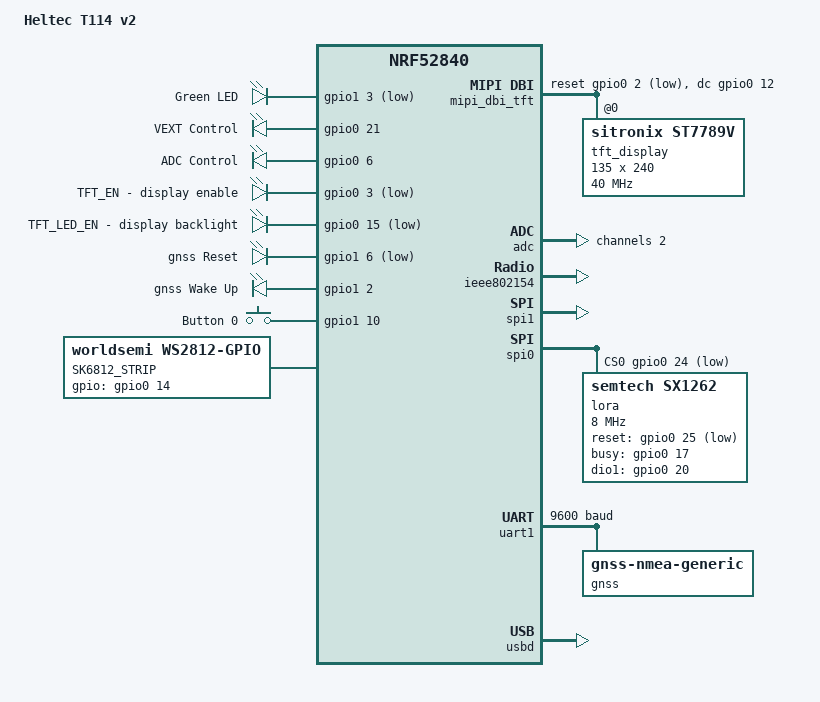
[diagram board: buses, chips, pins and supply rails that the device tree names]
/*
 * Copyright (c) 2024 MASSDRIVER EI (massdriver.space)
 * Copyright (c) 2018-2023 Nordic Semiconductor ASA
 * Copyright (c) 2017 Linaro Limited
 *
 * SPDX-License-Identifier: Apache-2.0
 */

/dts-v1/;
#include <nordic/nrf52840_qiaa.dtsi>
#include "heltec_t114_v2-pinctrl.dtsi"
#include <zephyr/dt-bindings/input/input-event-codes.h>
#include <zephyr/dt-bindings/led/led.h>
#include <zephyr/dt-bindings/mipi_dbi/mipi_dbi.h>
#include <dt-bindings/lora/sx126x.h>

/ {
	model = "Heltec T114 v2";
	compatible = "others,heltec-t114-v2";

	chosen {
		zephyr,sram = &sram0;
		zephyr,flash = &flash0;
		zephyr,ieee802154 = &ieee802154;
		zephyr,display = &tft_display;  /* ← Add this line */
	};

	digital_outputs {
		compatible = "gpio-leds";

		led4: led_4 {
			gpios = <&gpio1 3 GPIO_ACTIVE_LOW>;
			label = "Green LED";
		};

		vext_control:vext_control {
			gpios = <&gpio0 21 GPIO_ACTIVE_HIGH>;
			label = "VEXT Control";
		};

		adc_control:adc_control {
			gpios = <&gpio0 6 GPIO_ACTIVE_HIGH>;
			label = "ADC Control";
		};

		tft_en:tft_en {
			gpios = <&gpio0 3 GPIO_ACTIVE_LOW>;
			label = "TFT_EN - display enable";
		};

		tft_led_en:tft_led_en {
			gpios = <&gpio0 15 GPIO_ACTIVE_LOW>;
			label = "TFT_LED_EN - display backlight";
		};

		gnss_rst: gnss_rst {
			gpios = <&gpio1 6 GPIO_ACTIVE_LOW>;
			label = "gnss Reset";
		};

		gnss_wakeup: gnss_wakeup {
			gpios = <&gpio1 2 GPIO_ACTIVE_HIGH>;
			label = "gnss Wake Up";
		};
	};

	buttons {
		compatible = "gpio-keys";

		button0: button_0 {
			gpios = <&gpio1 10 GPIO_ACTIVE_HIGH>;
			label = "Button 0";
			zephyr,code = <INPUT_KEY_0>;
		};
	};

	gnss_pps {
		gnss_pps_pin: gnss_pps {
			gpios = <&gpio1 4 GPIO_ACTIVE_HIGH>;  /* P1.04 */
			label = "gnss PPS";
		};
	};

	led_strip:led_strip {
		compatible = "worldsemi,ws2812-gpio";
		label = "SK6812_STRIP";
		gpios = <&gpio0 14 GPIO_ACTIVE_HIGH>;
		chain-length = <2>;
		color-mapping = <LED_COLOR_ID_GREEN
						LED_COLOR_ID_RED
						LED_COLOR_ID_BLUE>;
		status = "okay";
	};

	mipi_dbi_tft {
		compatible = "zephyr,mipi-dbi-spi";
		spi-dev = <&spi1>;
		write-only;
		dc-gpios = <&gpio0 12 GPIO_ACTIVE_HIGH>;  // PIN_TFT_DC = P0.12
		reset-gpios = <&gpio0 2 GPIO_ACTIVE_LOW>; // PIN_TFT_RST = P0.02
		#address-cells = <1>;
		#size-cells = <0>;

		tft_display: st7789v@0 {
			compatible = "sitronix,st7789v";
			mipi-max-frequency = <40000000>;
			reg = <0>;
			width = <135>;
			height = <240>;
			x-offset = <52>;
			y-offset = <40>;
			vcom = <0x19>;
			gctrl = <0x35>;
			vrhs = <0x12>;
			vdvs = <0x20>;
			mdac = <0x00>;
			gamma = <0x01>;
			colmod = <0x55>;
			lcm = <0x2c>;
			porch-param = [0c 0c 00 33 33];
			cmd2en-param = [5a 69 02 01];
			pwctrl1-param = [a4 a1];
			pvgam-param = [D0 04 0D 11 13 2B 3F 54 4C 18 0D 0B 1F 23];
			nvgam-param = [D0 04 0C 11 13 2C 3F 44 51 2F 1F 1F 20 23];
			ram-param = [00 F0];
			rgb-param = [CD 08 14];
			mipi-mode = "MIPI_DBI_MODE_SPI_4WIRE";
			status = "okay";
		};
	};

	aliases {
		led4 = &led4;
		led0 = &led4;
		led-strip = &led_strip;
		button0 = &button0;
		sw0 = &button0;
		mcuboot-led4 = &led4;
		watchdog0 = &wdt0;
		vext-control = &vext_control;
		adc-control = &adc_control;
		tft-en = &tft_en;
		tft-led-en = &tft_led_en;
		gnss-rst = &gnss_rst;
		gnss-wakeup = &gnss_wakeup;
	};
};

&adc {
	status = "okay";
	#address-cells = <1>;
	#size-cells = <0>;
	io-channels = <&adc 2>;

	channel@2 {
		reg = <2>;                  /* AIN2 */
		zephyr,gain = "ADC_GAIN_1_6";
		zephyr,reference = "ADC_REF_INTERNAL";
		zephyr,acquisition-time = <ADC_ACQ_TIME_DEFAULT>;
		zephyr,input-positive = <NRF_SAADC_AIN2>;
		zephyr,resolution = <12>;
	};
};

&gpiote {
	status = "okay";
};

&uicr {
	nfct-pins-as-gpios;
	gpio-as-nreset;
};

&gpio0 {
	status = "okay";
};

&gpio1 {
	status = "okay";
};

&led_strip {
	status = "okay";
};

&ieee802154 {
	status = "okay";
};

&spi1 {
	status = "okay";
	pinctrl-0 = <&tft_spi_pins>;
	pinctrl-names = "default";
	cs-gpios = <&gpio0 11 GPIO_ACTIVE_LOW>; /* PIN_TFT_CS = P0.11 */
};

&spi0 {
	status = "okay";
	pinctrl-0 = <&lora_spi_pins>;
	pinctrl-names = "default";
	cs-gpios = <&gpio0 24 GPIO_ACTIVE_LOW>;

	lora: sx1262@0 {
		compatible = "semtech,sx1262";
		reg = <0>;
		spi-max-frequency = <8000000>;
		reset-gpios = <&gpio0 25 GPIO_ACTIVE_LOW>;
		busy-gpios = <&gpio0 17 GPIO_ACTIVE_HIGH>;
		dio1-gpios = <&gpio0 20 GPIO_ACTIVE_HIGH>;
		dio2-tx-enable;
		dio3-tcxo-voltage = <SX126X_DIO3_TCXO_1V8>;
		tcxo-power-startup-delay-ms = <5>;
		status = "okay";
	};
};

&uart1 {
	compatible = "nordic,nrf-uarte";
	status = "okay";
	current-speed = <9600>;
	pinctrl-0 = <&gnss_uart_pins>;
	pinctrl-names = "default";

	gnss: gnss-nmea-generic {
		compatible = "gnss-nmea-generic";
		status = "okay";
	};
};

zephyr_udc0: &usbd {
	status = "okay";
};
#include <../boards/common/usb/cdc_acm_serial.dtsi>
